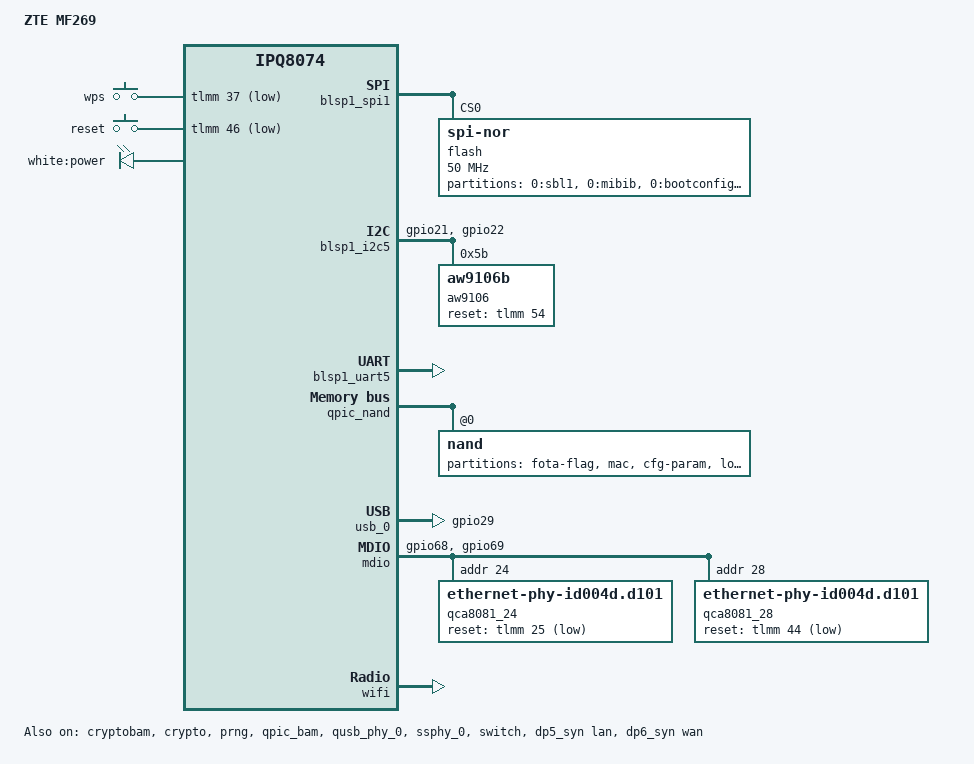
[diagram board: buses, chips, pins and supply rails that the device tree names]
// SPDX-License-Identifier: GPL-2.0-or-later OR MIT

/dts-v1/;

#include "ipq8074-512m.dtsi"
#include "ipq8074-ac-cpu.dtsi"
#include "ipq8074-ess.dtsi"
#include "ipq8074-nss.dtsi"
#include <dt-bindings/gpio/gpio.h>
#include <dt-bindings/input/input.h>

/ {
	model = "ZTE MF269";
	compatible = "zte,mf269", "qcom,ipq8074";

	aliases {
		serial0 = &blsp1_uart5;
		led-boot = &led_power;
		led-failsafe = &led_power;
		led-running = &led_power;
		led-upgrade = &led_power;
		label-mac-device = &dp6_syn;
	};

	chosen {
		stdout-path = "serial0:115200n8";
		bootargs-append = " root=/dev/ubiblock0_1";
	};

	keys {
		compatible = "gpio-keys";
		pinctrl-0 = <&button_pins>;
		pinctrl-names = "default";

		wps {
			label = "wps";
			linux,code = <KEY_WPS_BUTTON>;
			gpios = <&tlmm 37 GPIO_ACTIVE_LOW>;
		};

		reset {
			label = "reset";
			linux,code = <KEY_RESTART>;
			gpios = <&tlmm 46 GPIO_ACTIVE_LOW>;
		};
	};

	leds {
		compatible = "gpio-leds";

		led_power: power {
			label = "white:power";
			gpio = <&tlmm 56 GPIO_ACTIVE_HIGH>;
		};
	};
};

&tlmm {
	button_pins: button_pins {
		mux {
			pins = "gpio37", "gpio46";
			function = "gpio";
			drive-strength = <8>;
			bias-pull-up;
		};
	};

	i2c_pins: i2c-pins {
		pins = "gpio21", "gpio22";
		function = "blsp4_i2c1";
		drive-strength = <8>;
		bias-disable;
	};

	mdio_pins: mdio-pins {
		mdc {
			pins = "gpio68";
			function = "mdc";
			drive-strength = <8>;
			bias-pull-up;
		};

		mdio {
			pins = "gpio69";
			function = "mdio";
			drive-strength = <8>;
			bias-pull-up;
		};
	};

	usb_pwr_pins: usb_pwr_pins {
		mux {
			pins = "gpio29";
			function = "gpio";
			drive-strength = <8>;
			bias-disable;
			output-high;
		};
	};
};

&blsp1_spi1 {
	pinctrl-0 = <&spi_0_pins>;
	pinctrl-names = "default";
	cs-select = <0>;
	status = "okay";

	flash@0 {
		compatible = "jedec,spi-nor";
		#address-cells = <1>;
		#size-cells = <1>;
		reg = <0>;
		spi-max-frequency = <50000000>;

		partitions {
			compatible = "fixed-partitions";
			#address-cells = <1>;
			#size-cells = <1>;

			partition@0 {
				label = "0:sbl1";
				reg = <0x0 0x50000>;
				read-only;
			};

			partition@50000 {
				label = "0:mibib";
				reg = <0x50000 0x10000>;
				read-only;
			};

			partition@60000 {
				label = "0:bootconfig";
				reg = <0x60000 0x20000>;
				read-only;
			};

			partition@80000 {
				label = "0:bootconfig1";
				reg = <0x80000 0x20000>;
				read-only;
			};

			partition@a0000 {
				label = "0:qsee";
				reg = <0xa0000 0x180000>;
				read-only;
			};

			partition@220000 {
				label = "0:qsee_1";
				reg = <0x220000 0x180000>;
				read-only;
			};

			partition@3a0000 {
				label = "0:devcfg";
				reg = <0x3a0000 0x10000>;
				read-only;
			};

			partition@3b0000 {
				label = "0:devcfg_1";
				reg = <0x3b0000 0x10000>;
				read-only;
			};

			partition@3c0000 {
				label = "0:apdp";
				reg = <0x3c0000 0x10000>;
				read-only;
			};

			partition@3d0000 {
				label = "0:apdp_1";
				reg = <0x3d0000 0x10000>;
				read-only;
			};

			partition@3e0000 {
				label = "0:rpm";
				reg = <0x3e0000 0x40000>;
				read-only;
			};

			partition@420000 {
				label = "0:rpm_1";
				reg = <0x420000 0x40000>;
				read-only;
			};

			partition@460000 {
				label = "0:cdt";
				reg = <0x460000 0x10000>;
				read-only;
			};

			partition@470000 {
				label = "0:cdt_1";
				reg = <0x470000 0x10000>;
				read-only;
			};

			partition@480000 {
				label = "0:appsblenv";
				reg = <0x480000 0x10000>;
			};

			partition@490000 {
				label = "0:appsbl";
				reg = <0x490000 0xc0000>;
				read-only;
			};

			partition@550000 {
				label = "0:appsbl_1";
				reg = <0x550000 0xc0000>;
				read-only;
			};

			partition@610000 {
				label = "0:art";
				reg = <0x610000 0x40000>;
				read-only;
			};

			partition@650000 {
				label = "0:ethphyfw";
				reg = <0x650000 0x80000>;
				read-only;
			};
		};
	};
};

&blsp1_i2c5 {
	pinctrl-0 = <&i2c_pins>;
	pinctrl-names = "default";
	status = "okay";

	aw9106: gpio-expander@5b {
		compatible = "aw9106b";
		reg = <0x5b>;
		reset-gpios = <&tlmm 54 GPIO_ACTIVE_HIGH>;
	};
};

&blsp1_uart5 {
	status = "okay";
};

&cryptobam {
	status = "okay";
};

&crypto {
	status = "okay";
};

&prng {
	status = "okay";
};

&qpic_bam {
	status = "okay";
};

&qpic_nand {
	status = "okay";

	partitions {
		status = "disabled";
	};

	nand@0 {
		reg = <0>;
		nand-ecc-strength = <4>;
		nand-ecc-step-size = <512>;
		nand-bus-width = <8>;

		partitions {
			compatible = "fixed-partitions";
			#address-cells = <1>;
			#size-cells = <1>;

			partition@0 {
				label = "fota-flag";
				reg = <0x0000000 0x00a0000>;
				read-only;
			};

			partition@a0000 {
				label = "mac";
				reg = <0x00a0000 0x0080000>;
				read-only;

				compatible = "nvmem-cells";
				#address-cells = <1>;
				#size-cells = <1>;

				macaddr_mac_0: macaddr@0 {
					reg = <0x0 0x6>;
				};
			};

			partition@120000 {
				label = "cfg-param";
				reg = <0x0120000 0x1400000>;
				read-only;
			};

			partition@1520000 {
				label = "log";
				reg = <0x1520000 0x0600000>;
				read-only;
			};

			partition@1b20000 {
				label = "oops";
				reg = <0x1b20000 0x00a0000>;
				read-only;
			};

			partition@1bc0000 {
				label = "web";
				reg = <0x1bc0000 0x0800000>;
				read-only;
			};

			partition@23c0000 {
				label = "oem-ubi";
				reg = <0x23c0000 0x3400000>;
			};

			partition@57c0000 {
				label = "0:wififw";
				reg = <0x57c0000 0x0800000>;
				read-only;
			};

			partition@5fc0000 {
				label = "rootfs";
				reg = <0x5fc0000 0x9a00000>;
			};
		};
	};
};

&qusb_phy_0 {
	status = "okay";
};

&ssphy_0 {
	status = "okay";
};

&usb_0 {
	pinctrl-0 = <&usb_pwr_pins>;
	pinctrl-names = "default";
	status = "okay";
};

&mdio {
	status = "okay";

	pinctrl-0 = <&mdio_pins>;
	pinctrl-names = "default";

	qca8081_24: ethernet-phy@24 {
		compatible = "ethernet-phy-id004d.d101";
		reg = <24>;
		reset-gpios = <&tlmm 25 GPIO_ACTIVE_LOW>;
	};

	qca8081_28: ethernet-phy@28 {
		compatible = "ethernet-phy-id004d.d101";
		reg = <28>;
		reset-gpios = <&tlmm 44 GPIO_ACTIVE_LOW>;
	};
};

&switch {
	status = "okay";

	switch_cpu_bmp = <0x1>;  /* cpu port bitmap */
	switch_lan_bmp = <0x3e>; /* lan port bitmap */
	switch_wan_bmp = <0x40>; /* wan port bitmap */
	switch_mac_mode = <0xff>; /* mac mode for uniphy instance0*/
	switch_mac_mode1 = <0xf>; /* mac mode for uniphy instance1*/
	switch_mac_mode2 = <0xf>; /* mac mode for uniphy instance2*/
	bm_tick_mode = <0>; /* bm tick mode */
	tm_tick_mode = <0>; /* tm tick mode */

	qcom,port_phyinfo {
		port@5 {
			port_id = <5>;
			phy_address = <24>;
			port_mac_sel = "QGMAC_PORT";
		};
		port@6 {
			port_id = <6>;
			phy_address = <28>;
			port_mac_sel = "QGMAC_PORT";
		};
	};
};

&edma {
	status = "okay";
};

&dp5_syn {
	status = "okay";
	phy-handle = <&qca8081_24>;
	label = "lan";
	nvmem-cell-names = "mac-address";
	nvmem-cells = <&macaddr_mac_0 1>;
};

&dp6_syn {
	status = "okay";
	phy-handle = <&qca8081_28>;
	label = "wan";
	nvmem-cell-names = "mac-address";
	nvmem-cells = <&macaddr_mac_0 0>;
};

&wifi {
	status = "okay";

	qcom,ath11k-calibration-variant = "ZTE-MF269";
	qcom,ath11k-fw-memory-mode = <1>;
};
